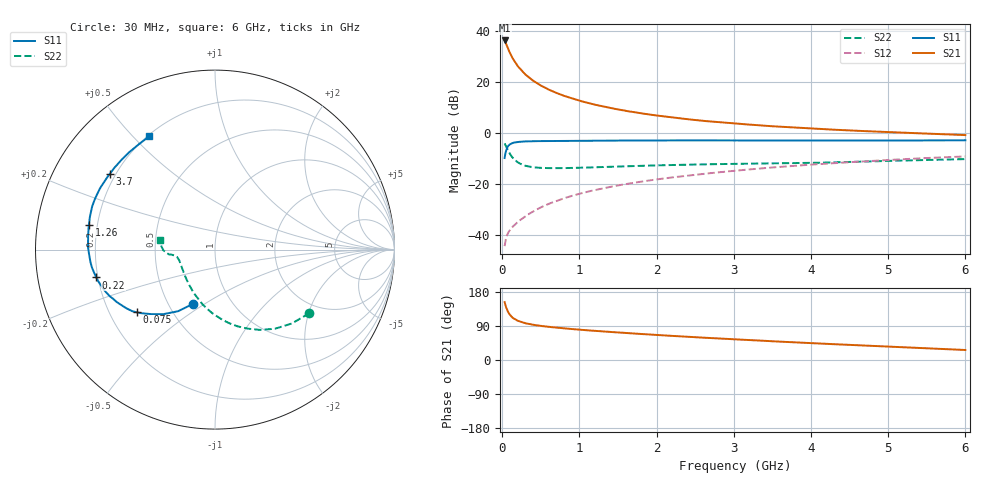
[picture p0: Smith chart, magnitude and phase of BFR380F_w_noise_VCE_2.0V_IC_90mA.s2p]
! Infineon Technologies  Discrete & RF Semiconductors
! BFR380F
! VCE =  2.0 V,  IC =  90 mA
! Common Emitter S-Parameters:  Nov 2015
# GHz  S  MA  R  50
!  f  S11  S21  S12  S22
! GHz  MAG  ANG  MAG  ANG  MAG  ANG  MAG  ANG
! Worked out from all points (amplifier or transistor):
!   206 points, 30 MHz to 6 GHz, reference 50 ohm
!   highest |S21| = 36.4 dB at 30 MHz (marker M1)
!   |S21| within 3 dB of that: start of sweep to 71.83 MHz
!   unconditionally stable (mu >= 1): 387.8 MHz to end of sweep
!   at 200 MHz: K = 0.84, MSG = 30.6 dB, |S12| = -34.8 dB
!   at 1.56 GHz: K = 1.10, MAG = 12.6 dB, |S12| = -20.1 dB
!   at 6 GHz: K = 1.01, MAG = 3.7 dB, |S12| = -9.1 dB
!   lowest NFmin = 2.09 dB at 450 MHz
!   S11 on the Smith chart (normalised r, x): 30 MHz: 0.66, -0.45; 75 MHz: 0.31, -0.32; 220 MHz: 0.19, -0.11; 1.26 GHz: 0.17, +0.10; 3.7 GHz: 0.18, +0.31; 6 GHz: 0.21, +0.56
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0.03  0.3272 -112.2  66.27 152.7  0.0061 70.7  0.6339 -34.0
0.04  0.4 -120.9  61.52 145.3  0.0076 66.5  0.5939 -43.9
0.05  0.4601 -128.6  56.72 138.5  0.0089 62.4  0.553 -52.9
0.06  0.5057 -134.7  51.9 133.4  0.0099 59.7  0.513 -60.7
0.075  0.5596 -141.4  45.72 126.8  0.0111 58.0  0.4603 -70.5
0.09  0.5928 -146.6  40.43 121.6  0.0121 56.9  0.4174 -79.1
0.1  0.6089 -149.7  37.46 118.8  0.0127 56.7  0.3932 -84.0
0.13  0.6408 -156.0  30.46 112.4  0.0144 56.5  0.3381 -96.3
0.15  0.656 -159.6  26.99 109.2  0.0154 57.4  0.3121 -103.0
0.2  0.6763 -165.3  20.8 103.5  0.0181 59.8  0.2697 -116.0
0.22  0.6797 -166.8  19.25 102.2  0.0192 60.9  0.2592 -119.6
0.34  0.6962 -173.6  12.64 95.4  0.0258 66.1  0.2236 -137.8
0.5  0.703 -178.7  8.637 89.9  0.0352 70.1  0.2097 -150.7
0.7  0.7082 177.1  6.196 85.4  0.047 72.6  0.2071 -159.4
1.04  0.7126 171.7  4.199 79.4  0.0674 73.9  0.2115 -166.7
1.26  0.7161 168.8  3.48 76.1  0.0806 74.0  0.2167 -169.3
2.02  0.7255 160.5  2.214 65.9  0.1256 72.4  0.2348 -172.4
3.1  0.7245 150.2  1.519 53.7  0.1893 68.4  0.2524 -173.8
3.7  0.7221 144.1  1.32 47.5  0.2252 65.4  0.2589 -174.2
4.1  0.722 140.0  1.219 43.5  0.2484 63.3  0.2645 -175.0
5.1  0.7228 130.3  1.042 34.4  0.3047 57.8  0.2898 179.9
6  0.7298 120.1  0.922 26.4  0.3514 51.9  0.3115 169.8
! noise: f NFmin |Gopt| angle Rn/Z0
0.45  2.09  0.53  -173  0.08
0.9  2.16  0.56  -169  0.08
1.8  2.62  0.61  -157  0.14
1.9  2.77  0.62  -157  0.14
2.4  2.91  0.63  -148  0.23
3.5  3.85  0.64  -137  0.48
